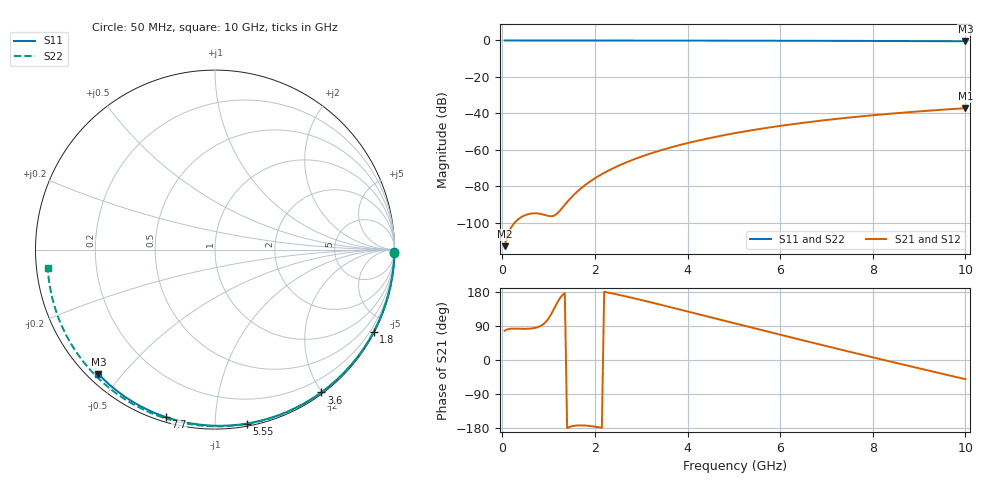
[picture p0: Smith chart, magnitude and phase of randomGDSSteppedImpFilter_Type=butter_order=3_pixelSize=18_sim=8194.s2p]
! freq	dB(S11)	phase(S11)	dB(S12)	phase(S12)
!  dB(S21)	phase(S21)	dB(S22)	phase(S22)
!S-par simulation data
#  GHz  S  DB  R 50
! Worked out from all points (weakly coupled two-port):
!   200 points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, 50 MHz to 10 GHz, reference 50 ohm
!   highest |S21| = -37.20 dB at 10 GHz (marker M1); lowest = -113.0 dB at 50 MHz (marker M2)
!   lowest |S11| = -0.4 dB at 10 GHz (marker M3), VSWR 38.75, Z = 1.53 - j21.7 ohm
!   |S11| at or under -10 dB: nowhere
!   |S22| runs from -0.6 to 0.0 dB; largest |S21 - S12| = 0
!   S11 on the Smith chart (normalised r, x): 50 MHz: open; 1.8 GHz: 0.04, -4.12; 3.6 GHz: 0.02, -1.99; 5.55 GHz: 0.02, -1.20; 7.7 GHz: 0.02, -0.75; 10 GHz: 0.03, -0.43
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0.05  -0.00 -0.8  -112.97 77.2  -112.97 77.2  -0.00 -1.0
0.45  -0.01 -6.9  -96.47 82.3  -96.47 82.3  -0.01 -9.1
0.85  -0.02 -13.0  -95.36 91.5  -95.36 91.5  -0.02 -17.2
1.3  -0.02 -19.8  -91.77 171.2  -91.77 171.2  -0.03 -26.1
1.75  -0.03 -26.5  -80.17 -172.7  -80.17 -172.7  -0.04 -34.9
1.8  -0.03 -27.3  -79.20 -173.1  -79.20 -173.1  -0.05 -35.9
1.95  -0.04 -29.5  -76.51 -175.0  -76.51 -175.0  -0.05 -38.8
2.1  -0.04 -31.7  -74.15 -177.8  -74.15 -177.8  -0.05 -41.7
2.3  -0.04 -34.7  -71.36 177.6  -71.36 177.6  -0.06 -45.5
2.5  -0.05 -37.6  -68.91 172.5  -68.91 172.5  -0.06 -49.3
2.9  -0.06 -43.4  -64.74 161.3  -64.74 161.3  -0.07 -56.8
3.4  -0.07 -50.5  -60.49 146.5  -60.49 146.5  -0.09 -66.0
3.6  -0.07 -53.3  -59.01 140.4  -59.01 140.4  -0.09 -69.6
4.3  -0.09 -63.0  -54.58 118.9  -54.58 118.9  -0.12 -81.9
5.05  -0.11 -73.1  -50.78 95.8  -50.78 95.8  -0.14 -94.7
5.55  -0.13 -79.6  -48.63 80.5  -48.63 80.5  -0.17 -103.0
6.1  -0.15 -86.7  -46.56 63.7  -46.56 63.7  -0.20 -111.9
6.7  -0.18 -94.2  -44.58 45.6  -44.58 45.6  -0.23 -121.5
7.7  -0.24 -106.4  -41.81 15.8  -41.81 15.8  -0.31 -137.2
8.35  -0.29 -114.1  -40.29 -3.2  -40.29 -3.2  -0.37 -147.3
9.2  -0.36 -123.9  -38.58 -27.8  -38.58 -27.8  -0.46 -160.7
10  -0.45 -133.1  -37.20 -50.6  -37.20 -50.6  -0.56 -173.7
